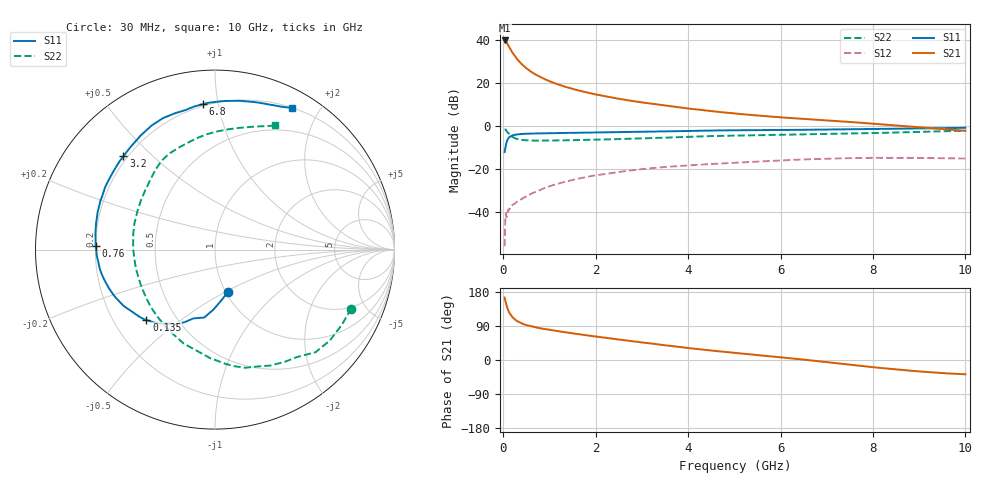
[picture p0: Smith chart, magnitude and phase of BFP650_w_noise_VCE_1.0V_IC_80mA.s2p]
! Infineon Technologies  Discrete & RF Semiconductors
! BFP650
! VCE =  1.0 V,  IC =  80 mA
! Common Emitter S-Parameters:  Jan 2016
# GHz  S  MA  R  50
!  f  S11  S21  S12  S22
! GHz  MAG  ANG  MAG  ANG  MAG  ANG  MAG  ANG
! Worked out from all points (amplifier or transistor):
!   229 points, 30 MHz to 10 GHz, reference 50 ohm
!   highest |S21| = 39.6 dB at 30 MHz (marker M1)
!   |S21| within 3 dB of that: start of sweep to 126.9 MHz
!   unconditionally stable (mu >= 1): 1.286 GHz to end of sweep
!   at 280 MHz: K = 0.63, MSG = 33.6 dB, |S12| = -35.7 dB
!   at 1.78 GHz: K = 1.02, MAG = 18.9 dB, |S12| = -23.8 dB
!   at 10 GHz: K = 1.04, MAG = 5.2 dB, |S12| = -15.2 dB
!   lowest NFmin = 1.25 dB at 450 MHz
!   S11 on the Smith chart (normalised r, x): 30 MHz: 1.03, -0.51; 135 MHz: 0.34, -0.38; 760 MHz: 0.20, +0.01; 3.2 GHz: 0.18, +0.41; 6.8 GHz: 0.19, +0.90; 10 GHz: 0.20, +1.66
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0.03  0.246 -72.9  95.71 164.8  0.0016 53.3  0.8264 -23.4
0.04  0.2841 -82.6  95.41 159.4  0.0044 78.8  0.8217 -30.4
0.06  0.3832 -99.0  91.52 149.6  0.0093 70.2  0.8004 -45.6
0.08  0.4367 -112.5  84.54 140.8  0.0079 57.3  0.7363 -58.1
0.11  0.5117 -126.3  73.42 130.7  0.0114 59.2  0.6797 -75.6
0.135  0.5476 -134.3  65.43 124.4  0.0116 57.7  0.629 -86.7
0.15  0.5634 -138.4  61.39 121.2  0.0122 60.2  0.6051 -92.6
0.2  0.5982 -148.4  49.98 112.7  0.0147 53.0  0.5516 -108.4
0.24  0.614 -154.0  43.19 108.2  0.0153 54.0  0.5221 -117.9
0.3  0.63 -160.5  35.33 102.7  0.0173 52.2  0.4939 -129.8
0.4  0.6453 -167.6  26.95 96.5  0.02 54.8  0.4707 -143.2
0.5  0.6523 -172.8  21.7 92.1  0.0231 55.3  0.4603 -152.7
0.6  0.6589 -176.7  18.08 88.8  0.0263 57.4  0.4542 -159.8
0.76  0.6645 178.3  14.32 84.7  0.0311 58.0  0.4519 -168.3
1.1  0.6748 170.1  9.822 77.7  0.0424 58.2  0.4561 179.0
1.7  0.6911 158.4  6.327 67.0  0.0612 54.1  0.4687 164.4
3.2  0.7285 134.5  3.262 43.6  0.1031 38.0  0.5151 137.6
3.4  0.7351 131.5  3.045 40.5  0.108 35.7  0.5241 134.7
5.1  0.788 110.6  1.887 17.7  0.1399 18.3  0.5936 114.6
6.8  0.8131 94.8  1.38 -2.9  0.1695 0.9  0.6369 96.4
8.4  0.8497 75.5  1.036 -23.6  0.1798 -17.1  0.6927 78.4
10  0.8981 61.6  0.763 -37.7  0.1737 -29.3  0.7694 64.1
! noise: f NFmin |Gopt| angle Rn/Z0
0.45  1.25  0.51  -171  0.06
0.9  1.27  0.52  -165  0.06
1.9  1.4  0.55  -151  0.08
2.4  1.49  0.54  -141  0.11
3.5  1.69  0.55  -118  0.19
